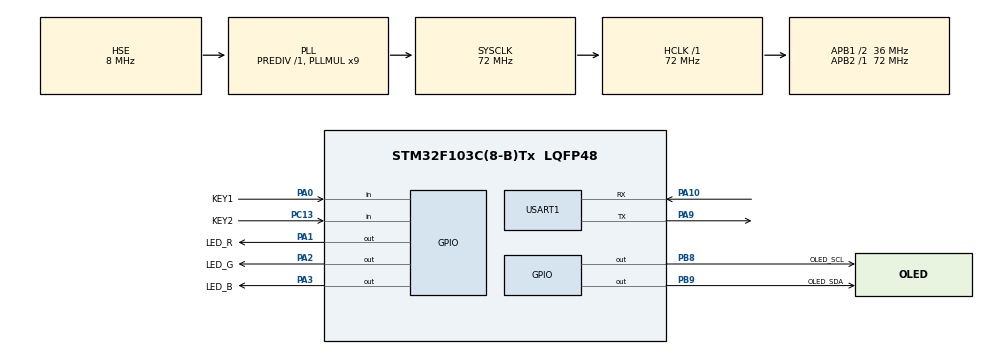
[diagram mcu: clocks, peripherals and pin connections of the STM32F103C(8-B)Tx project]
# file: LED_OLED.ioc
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Mcu.Family=STM32F1
Mcu.Name=STM32F103C(8-B)Tx
Mcu.Package=LQFP48
NVIC.PriorityGroup=NVIC_PRIORITYGROUP_4
PA0-WKUP.GPIO_Label=KEY1
PA0-WKUP.Signal=GPIO_Input
PA1.GPIO_Label=LED_R
PA1.PinState=GPIO_PIN_SET
PA1.Signal=GPIO_Output
PA10.Mode=Asynchronous
PA10.Signal=USART1_RX
PA13.Mode=Serial_Wire
PA13.Signal=SYS_JTMS-SWDIO
PA14.Mode=Serial_Wire
PA14.Signal=SYS_JTCK-SWCLK
PA2.GPIO_Label=LED_G
PA2.PinState=GPIO_PIN_SET
PA2.Signal=GPIO_Output
PA3.GPIO_Label=LED_B
PA3.PinState=GPIO_PIN_SET
PA3.Signal=GPIO_Output
PA9.Mode=Asynchronous
PA9.Signal=USART1_TX
PB8.GPIO_Label=OLED_SCL
PB8.GPIO_ModeDefaultOutputPP=GPIO_MODE_OUTPUT_OD
PB8.GPIO_PuPd=GPIO_NOPULL
PB8.GPIO_Speed=GPIO_SPEED_FREQ_HIGH
PB8.PinState=GPIO_PIN_SET
PB8.Signal=GPIO_Output
PB9.GPIO_Label=OLED_SDA
PB9.GPIO_ModeDefaultOutputPP=GPIO_MODE_OUTPUT_OD
PB9.GPIO_PuPd=GPIO_NOPULL
PB9.GPIO_Speed=GPIO_SPEED_FREQ_HIGH
PB9.PinState=GPIO_PIN_SET
PB9.Signal=GPIO_Output
PC13-TAMPER-RTC.GPIO_Label=KEY2
PC13-TAMPER-RTC.Signal=GPIO_Input
PD0-OSC_IN.Mode=HSE-External-Oscillator
PD0-OSC_IN.Signal=RCC_OSC_IN
PD1-OSC_OUT.Mode=HSE-External-Oscillator
PD1-OSC_OUT.Signal=RCC_OSC_OUT
ProjectManager.HeapSize=0x200
ProjectManager.StackSize=0x400
ProjectManager.TargetToolchain=CMake
RCC.AHBFreq_Value=72000000
RCC.APB1CLKDivider=RCC_HCLK_DIV2
RCC.APB1Freq_Value=36000000
RCC.APB1TimFreq_Value=72000000
RCC.APB2Freq_Value=72000000
RCC.APB2TimFreq_Value=72000000
RCC.HCLKFreq_Value=72000000
RCC.PLLMUL=RCC_PLL_MUL9
RCC.PLLSourceVirtual=RCC_PLLSOURCE_HSE
RCC.SYSCLKFreq_VALUE=72000000
RCC.SYSCLKSource=RCC_SYSCLKSOURCE_PLLCLK
RCC.USBFreq_Value=72000000
USART1.VirtualMode=VM_ASYNC
board=custom

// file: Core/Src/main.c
/* USER CODE BEGIN Header */

/* USER CODE END Header */

#include "main.h"

/* USER CODE BEGIN Includes */
#include "oled.h"
#include <stdio.h>
#include <string.h>
#include "protocol.h"

/* USER CODE END Includes */

/* USER CODE BEGIN PTD */
typedef struct {                 /* 作业2：自定义结构体接收数据包 */
    uint8_t  run;                /* 0=暂停 1=运行 */
    uint8_t  dir;                /* 0=正向 1=反向 */
    uint16_t step_ms;            /* 流水间隔 ms */
} LedPacket_t;

typedef enum {                   /* 接收状态机 */
    RX_WAIT_HEAD = 0, RX_RUN, RX_DIR, RX_STEP_L, RX_STEP_H, RX_CHECK
} RxState_t;

typedef struct {
    GPIO_TypeDef *port;
    uint16_t      pin;
    uint32_t      debounce_ms;
    uint8_t       last_raw;
    uint8_t       stable;
    uint32_t      change_tick;
    uint8_t       event;
} Key_t;

typedef struct {
    uint8_t  run;                /* 1=运行 0=暂停 */
    uint8_t  dir;                /* 0=正向 1=反向 */
    uint16_t step_ms;            /* 间隔 ms */
    uint8_t  led_idx;            /* 0..2 对应 LED_R/G/B */
    uint8_t  dirty;              /* OLED 需刷新 */
} AppState_t;
/* USER CODE END PTD */

/* USER CODE BEGIN PD */
#define PKT_HEAD      0xAA
#define PKT_LEN       6
#define STEP_MIN_MS   100
#define STEP_MAX_MS   2000
#define LED_NUM 3
/* USER CODE END PD */

UART_HandleTypeDef huart1;

/* USER CODE BEGIN PV */
static const uint16_t    LED_PIN[3]     = { LED_R_Pin,  LED_G_Pin,  LED_B_Pin  };
static GPIO_TypeDef *const LED_PORT[3]  = { LED_R_GPIO_Port, LED_G_GPIO_Port, LED_B_GPIO_Port };

static AppState_t app = { 1, 0, 300, 0, 1 };   /* 上电: 运行 正向 300ms LED#1 需刷新 */

static Key_t key1 = { .port = KEY1_GPIO_Port, .pin = KEY1_Pin, .debounce_ms = 20 };
static Key_t key2 = { .port = KEY2_GPIO_Port, .pin = KEY2_Pin, .debounce_ms = 20 };

static char tx_buf[128];
/* USER CODE END PV */

void SystemClock_Config(void);
static void MX_GPIO_Init(void);
static void MX_USART1_UART_Init(void);
/* USER CODE BEGIN PFP */
static void LEDs_Only(uint8_t idx);
static void OLED_Refresh(void);
static void UART_SendStr(const char *s);
static void Key_Scan(Key_t *k);
/* USER CODE END PFP */

/* USER CODE BEGIN 0 */

/* 只点亮第 idx 号 LED（低电平点亮） */
static void LEDs_Only(uint8_t idx)
{
    int i;
    for (i = 0; i < 3; i++)
        HAL_GPIO_WritePin(LED_PORT[i], LED_PIN[i],
                          (i == (int)idx) ? GPIO_PIN_RESET : GPIO_PIN_SET);
}

static void OLED_Refresh(void)
{
    OLED_ShowString(1, 1, app.run ? "STATE: RUN " : "STATE: STOP");
    OLED_ShowString(2, 1, app.dir ? "DIR : REV " : "DIR : FWD ");
    OLED_ShowString(3, 1, "STEP:");
    OLED_ShowNum (3, 7, (uint32_t)app.step_ms, 4);
    OLED_ShowString(3, 11, "ms ");
    OLED_ShowString(4, 1, "LED :");
    OLED_ShowNum (4, 7, (uint32_t)(app.led_idx + 1), 1);
    OLED_ShowString(4, 9, "    ");
    app.dirty = 0;
}

static void UART_SendStr(const char *s)
{
    HAL_UART_Transmit(&huart1, (uint8_t *)s, (uint16_t)strlen(s), HAL_MAX_DELAY);
}

static void Key_Scan(Key_t *k)
{
    uint8_t raw = (HAL_GPIO_ReadPin(k->port, k->pin) == GPIO_PIN_RESET) ? 0 : 1;
    if (raw != k->last_raw) {
        k->last_raw    = raw;
        k->change_tick = HAL_GetTick();
    }
    else if ((HAL_GetTick() - k->change_tick) >= k->debounce_ms)
    {
        if (raw != k->stable) {
            k->stable = raw;
            if (raw == 0) k->event = 1;
        }
    }
}
/* USER CODE END 0 */

int main(void)
{

  HAL_Init();

  SystemClock_Config();

  MX_GPIO_Init();
  MX_USART1_UART_Init();

  /* USER CODE BEGIN 2 */
  LEDs_Only(app.led_idx);          /* 上电点亮 LED#1 */
  OLED_Init();                     /* 须在 MX_GPIO_Init 之后 */
  OLED_Refresh();
  Protocol_Init();                 /* 内部已调用 HAL_UART_Receive_IT，不要再重复开 */
  UART_SendStr("System Ready\r\n");
  /* USER CODE END 2 */

  /* USER CODE BEGIN WHILE */
  LED_Cmd_t cmd;
  uint32_t  last_shift = HAL_GetTick();

  while (1)
  {
    /* 1. 按键（作业1） */
    Key_Scan(&key1);
    Key_Scan(&key2);
    if (key1.event) {                             /* KEY1：换向 */
        key1.event = 0;
        app.dir ^= 1;
        app.dirty = 1;
        snprintf(tx_buf, sizeof(tx_buf), "Direction: %s\r\n",
                 app.dir ? "Reverse" : "Forward");
        UART_SendStr(tx_buf);
    }
    if (key2.event) {                             /* KEY2：暂停/继续 */
        key2.event = 0;
        app.run ^= 1;
        if (app.run) last_shift = HAL_GetTick();  /* 恢复时重置计时，避免瞬间跳 */
        app.dirty = 1;
        snprintf(tx_buf, sizeof(tx_buf), "State: %s\r\n",
                 app.run ? "Running" : "Paused");
        UART_SendStr(tx_buf);
    }

    /* 2. 串口协议包（作业2，protocol.c 已完成帧头/校验判定） */
    if (Protocol_GetCmd(&cmd))
    {
        app.run     = cmd.run;
        app.dir     = cmd.dir;
        app.step_ms = cmd.step_ms;
        app.dirty   = 1;
        snprintf(tx_buf, sizeof(tx_buf), "ACK: RUN=%u DIR=%u STEP=%u\r\n",
                 app.run, app.dir, app.step_ms);
        UART_SendStr(tx_buf);
    }

    /* 3. 流水移位（作业1，间隔/方向受作业1+2 控制） */
    if (app.run && (HAL_GetTick() - last_shift >= (uint32_t)app.step_ms))
    {
        last_shift  = HAL_GetTick();
        app.led_idx = (uint8_t)((app.led_idx + (app.dir ? 2u : 1u)) % 3u); /* 正向+1 反向-1 */
        LEDs_Only(app.led_idx);
        app.dirty   = 1;                            /* 暂停时不进这里，满足要求2 */
    }

    /* 4. OLED 刷新（作业3） */
    if (app.dirty) OLED_Refresh();
  }
  /* USER CODE END WHILE */

}

/* ===== 以下均为 CubeMX 生成区，已按你的 .ioc 配置重建，确保编译/链接完整 ===== */
void SystemClock_Config(void)
{
    RCC_OscInitTypeDef RCC_OscInitStruct = {0};
    RCC_ClkInitTypeDef RCC_ClkInitStruct = {0};

    /*** Initialize the RCC Oscillators ***/
    RCC_OscInitStruct.OscillatorType = RCC_OSCILLATORTYPE_HSE;
    RCC_OscInitStruct.HSEState       = RCC_HSE_ON;
    RCC_OscInitStruct.HSEPredivValue = RCC_HSE_PREDIV_DIV1;   /* F1 必须有这行 */
    RCC_OscInitStruct.PLL.PLLState   = RCC_PLL_ON;
    RCC_OscInitStruct.PLL.PLLSource  = RCC_PLLSOURCE_HSE;
    RCC_OscInitStruct.PLL.PLLMUL     = RCC_PLL_MUL9;          /* 8MHz HSE ×9 = 72MHz */
    if (HAL_RCC_OscConfig(&RCC_OscInitStruct) != HAL_OK)
    {
        Error_Handler();
    }

    /*** Initialize the CPU, AHB and APB buses clocks ***/
    RCC_ClkInitStruct.ClockType      = RCC_CLOCKTYPE_HCLK | RCC_CLOCKTYPE_SYSCLK |
                                       RCC_CLOCKTYPE_PCLK1 | RCC_CLOCKTYPE_PCLK2;
    RCC_ClkInitStruct.SYSCLKSource   = RCC_SYSCLKSOURCE_PLLCLK;
    RCC_ClkInitStruct.AHBCLKDivider  = RCC_SYSCLK_DIV1;
    RCC_ClkInitStruct.APB1CLKDivider = RCC_HCLK_DIV2;
    RCC_ClkInitStruct.APB2CLKDivider = RCC_HCLK_DIV1;
    if (HAL_RCC_ClockConfig(&RCC_ClkInitStruct, FLASH_LATENCY_2) != HAL_OK)
    {
        Error_Handler();
    }
}

static void MX_USART1_UART_Init(void)
{
  huart1.Instance          = USART1;
  huart1.Init.BaudRate     = 115200;
  huart1.Init.WordLength   = UART_WORDLENGTH_8B;
  huart1.Init.StopBits     = UART_STOPBITS_1;
  huart1.Init.Parity       = UART_PARITY_NONE;
  huart1.Init.Mode         = UART_MODE_TX_RX;
  huart1.Init.HwFlowCtl    = UART_HWCONTROL_NONE;
  huart1.Init.OverSampling = UART_OVERSAMPLING_16;
  if (HAL_UART_Init(&huart1) != HAL_OK) { Error_Handler(); }
  HAL_NVIC_SetPriority(USART1_IRQn, 0, 0);
  HAL_NVIC_EnableIRQ(USART1_IRQn);
}

static void MX_GPIO_Init(void)
{
  GPIO_InitTypeDef GPIO_InitStruct = {0};

  __HAL_RCC_GPIOA_CLK_ENABLE();
  __HAL_RCC_GPIOB_CLK_ENABLE();
  __HAL_RCC_GPIOC_CLK_ENABLE();
  __HAL_RCC_AFIO_CLK_ENABLE();
  __HAL_RCC_PWR_CLK_ENABLE();

  /* 输出脚初始态：LED 全灭(高)，OLED 两线空闲(高) */
  HAL_GPIO_WritePin(GPIOA, LED_R_Pin | LED_G_Pin | LED_B_Pin, GPIO_PIN_SET);
  HAL_GPIO_WritePin(GPIOB, OLED_SCL_Pin | OLED_SDA_Pin, GPIO_PIN_SET);

  /* 按键：PA0 / PC13 输入，无上下拉 */
  GPIO_InitStruct.Mode  = GPIO_MODE_INPUT;
  GPIO_InitStruct.Pull  = GPIO_NOPULL;
  GPIO_InitStruct.Pin   = KEY1_Pin;
  HAL_GPIO_Init(KEY1_GPIO_Port, &GPIO_InitStruct);
  GPIO_InitStruct.Pin   = KEY2_Pin;
  HAL_GPIO_Init(KEY2_GPIO_Port, &GPIO_InitStruct);

  /* LED：PA1/PA2/PA3 推挽输出，低速 */
  GPIO_InitStruct.Mode  = GPIO_MODE_OUTPUT_PP;
  GPIO_InitStruct.Pull  = GPIO_NOPULL;
  GPIO_InitStruct.Speed = GPIO_SPEED_FREQ_LOW;
  GPIO_InitStruct.Pin   = LED_R_Pin | LED_G_Pin | LED_B_Pin;
  HAL_GPIO_Init(GPIOA, &GPIO_InitStruct);

  /* OLED：PB8/PB9 开漏输出，高速（软件 I2C，靠外部上拉） */
  GPIO_InitStruct.Mode  = GPIO_MODE_OUTPUT_OD;
  GPIO_InitStruct.Pull  = GPIO_NOPULL;
  GPIO_InitStruct.Speed = GPIO_SPEED_FREQ_HIGH;
  GPIO_InitStruct.Pin   = OLED_SCL_Pin | OLED_SDA_Pin;
  HAL_GPIO_Init(GPIOB, &GPIO_InitStruct);
}

void Error_Handler(void)
{
  __disable_irq();
  while (1) { }
}
